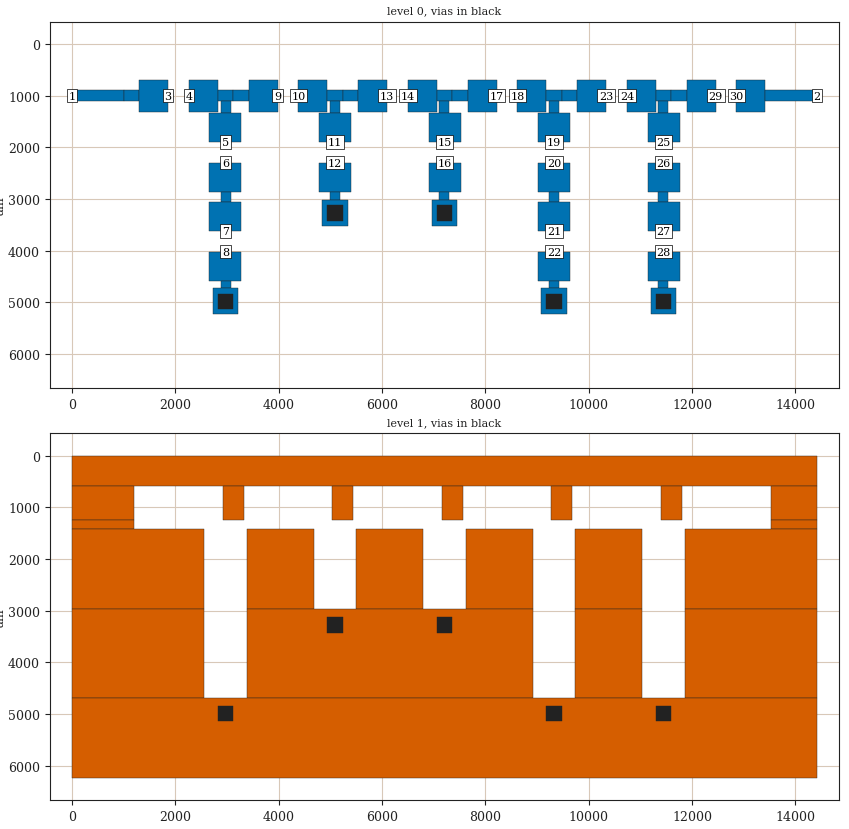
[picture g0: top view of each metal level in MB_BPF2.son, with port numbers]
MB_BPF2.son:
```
FTYP SONPROJ 1 ! Sonnet Project File
VER 19.54
HEADER
END HEADER
DIM
FREQ GHZ
IND NH
LNG UM
ANG DEG
CON /OH
CAP PF
RES OH
END DIM
FREQ
ABS 0.0300 8.0000
END FREQ
CONTROL
ABS
OPTIONS  -d
SPEED 0
RES_ABS 300
END CONTROL
GEO
TMET "Lossless" 0 SUP 0 0 0 0
BMET "Lossless" 0 SUP 0 0 0 0
MET "Cu35" 1 NOR 5.8e7 0 35
BOX 2 14420.0000 6230.0000 1442 623 20 0
      1000.0000 1 1 0 0 0 0 "Air"
      99.4000 4.1000 1 0.0200 0 0 0 "PP3313"
      1265.0000 4.5000 1 0.0200 0 0 0 "Core"
POR1 STD
POLY 1 1
3
1 50 0 0 0 0.0000 1000.0000
POR1 STD
POLY 59 1
1
2 50 0 0 0 14420.0000 1000.0000
POR1 AGND
POLY 3 1
1
3 50 0 0 0 1860.0000 1000.0000 FIX 0
POR1 AGND
POLY 4 1
3
4 50 0 0 0 2260.0000 1000.0000 FIX 0
POR1 AGND
POLY 7 1
2
5 50 0 0 0 2970.0000 1900.0000 FIX 0
POR1 AGND
POLY 8 1
0
6 50 0 0 0 2970.0000 2300.0000 FIX 0
POR1 AGND
POLY 10 1
2
7 50 0 0 0 2970.0000 3620.0000 FIX 0
POR1 AGND
POLY 11 1
0
8 50 0 0 0 2970.0000 4020.0000 FIX 0
POR1 AGND
POLY 15 1
1
9 50 0 0 0 3980.0000 1000.0000 FIX 0
POR1 AGND
POLY 16 1
3
10 50 0 0 0 4380.0000 1000.0000 FIX 0
POR1 AGND
POLY 19 1
2
11 50 0 0 0 5090.0000 1900.0000 FIX 0
POR1 AGND
POLY 20 1
0
12 50 0 0 0 5090.0000 2300.0000 FIX 0
POR1 AGND
POLY 24 1
1
13 50 0 0 0 6100.0000 1000.0000 FIX 0
POR1 AGND
POLY 25 1
3
14 50 0 0 0 6500.0000 1000.0000 FIX 0
POR1 AGND
POLY 28 1
2
15 50 0 0 0 7210.0000 1900.0000 FIX 0
POR1 AGND
POLY 29 1
0
16 50 0 0 0 7210.0000 2300.0000 FIX 0
POR1 AGND
POLY 33 1
1
17 50 0 0 0 8220.0000 1000.0000 FIX 0
POR1 AGND
POLY 34 1
3
18 50 0 0 0 8620.0000 1000.0000 FIX 0
POR1 AGND
POLY 37 1
2
19 50 0 0 0 9330.0000 1900.0000 FIX 0
POR1 AGND
POLY 38 1
0
20 50 0 0 0 9330.0000 2300.0000 FIX 0
POR1 AGND
POLY 40 1
2
21 50 0 0 0 9330.0000 3620.0000 FIX 0
POR1 AGND
POLY 41 1
0
22 50 0 0 0 9330.0000 4020.0000 FIX 0
POR1 AGND
POLY 45 1
1
23 50 0 0 0 10340.0000 1000.0000 FIX 0
POR1 AGND
POLY 46 1
3
24 50 0 0 0 10740.0000 1000.0000 FIX 0
POR1 AGND
POLY 49 1
2
25 50 0 0 0 11450.0000 1900.0000 FIX 0
POR1 AGND
POLY 50 1
0
26 50 0 0 0 11450.0000 2300.0000 FIX 0
POR1 AGND
POLY 52 1
2
27 50 0 0 0 11450.0000 3620.0000 FIX 0
POR1 AGND
POLY 53 1
0
28 50 0 0 0 11450.0000 4020.0000 FIX 0
POR1 AGND
POLY 57 1
1
29 50 0 0 0 12460.0000 1000.0000 FIX 0
POR1 AGND
POLY 58 1
3
30 50 0 0 0 12860.0000 1000.0000 FIX 0
NUM 91
1 5 0 N 60 1 1 100 100 0 0 0 Y
0.0000 0.0000
14420.0000 0.0000
14420.0000 590.0000
0.0000 590.0000
0.0000 0.0000
END
1 5 0 N 61 1 1 100 100 0 0 0 Y
0.0000 590.0000
1200.0000 590.0000
1200.0000 1240.0000
0.0000 1240.0000
0.0000 590.0000
END
1 5 0 N 62 1 1 100 100 0 0 0 Y
2920.0000 590.0000
3320.0000 590.0000
3320.0000 1240.0000
2920.0000 1240.0000
2920.0000 590.0000
END
1 5 0 N 63 1 1 100 100 0 0 0 Y
5040.0000 590.0000
5440.0000 590.0000
5440.0000 1240.0000
5040.0000 1240.0000
5040.0000 590.0000
END
1 5 0 N 64 1 1 100 100 0 0 0 Y
7160.0000 590.0000
7560.0000 590.0000
7560.0000 1240.0000
7160.0000 1240.0000
7160.0000 590.0000
END
1 5 0 N 65 1 1 100 100 0 0 0 Y
9280.0000 590.0000
9680.0000 590.0000
9680.0000 1240.0000
9280.0000 1240.0000
9280.0000 590.0000
END
1 5 0 N 66 1 1 100 100 0 0 0 Y
11400.0000 590.0000
11800.0000 590.0000
11800.0000 1240.0000
11400.0000 1240.0000
11400.0000 590.0000
END
1 5 0 N 67 1 1 100 100 0 0 0 Y
13520.0000 590.0000
14420.0000 590.0000
14420.0000 1240.0000
13520.0000 1240.0000
13520.0000 590.0000
END
1 5 0 N 68 1 1 100 100 0 0 0 Y
0.0000 1240.0000
1200.0000 1240.0000
1200.0000 1410.0000
0.0000 1410.0000
0.0000 1240.0000
END
1 5 0 N 69 1 1 100 100 0 0 0 Y
13520.0000 1240.0000
14420.0000 1240.0000
14420.0000 1410.0000
13520.0000 1410.0000
13520.0000 1240.0000
END
1 5 0 N 70 1 1 100 100 0 0 0 Y
0.0000 1410.0000
2560.0000 1410.0000
2560.0000 2960.0000
0.0000 2960.0000
0.0000 1410.0000
END
1 5 0 N 71 1 1 100 100 0 0 0 Y
3380.0000 1410.0000
4680.0000 1410.0000
4680.0000 2960.0000
3380.0000 2960.0000
3380.0000 1410.0000
END
1 5 0 N 72 1 1 100 100 0 0 0 Y
5500.0000 1410.0000
6800.0000 1410.0000
6800.0000 2960.0000
5500.0000 2960.0000
5500.0000 1410.0000
END
1 5 0 N 73 1 1 100 100 0 0 0 Y
7620.0000 1410.0000
8920.0000 1410.0000
8920.0000 2960.0000
7620.0000 2960.0000
7620.0000 1410.0000
END
1 5 0 N 74 1 1 100 100 0 0 0 Y
9740.0000 1410.0000
11040.0000 1410.0000
11040.0000 2960.0000
9740.0000 2960.0000
9740.0000 1410.0000
END
1 5 0 N 75 1 1 100 100 0 0 0 Y
11860.0000 1410.0000
14420.0000 1410.0000
14420.0000 2960.0000
11860.0000 2960.0000
11860.0000 1410.0000
END
1 5 0 N 76 1 1 100 100 0 0 0 Y
0.0000 2960.0000
2560.0000 2960.0000
2560.0000 2960.0000
0.0000 2960.0000
0.0000 2960.0000
END
1 5 0 N 77 1 1 100 100 0 0 0 Y
3380.0000 2960.0000
4680.0000 2960.0000
4680.0000 2960.0000
3380.0000 2960.0000
3380.0000 2960.0000
END
1 5 0 N 78 1 1 100 100 0 0 0 Y
5500.0000 2960.0000
6800.0000 2960.0000
6800.0000 2960.0000
5500.0000 2960.0000
5500.0000 2960.0000
END
1 5 0 N 79 1 1 100 100 0 0 0 Y
7620.0000 2960.0000
8920.0000 2960.0000
8920.0000 2960.0000
7620.0000 2960.0000
7620.0000 2960.0000
END
1 5 0 N 80 1 1 100 100 0 0 0 Y
9740.0000 2960.0000
11040.0000 2960.0000
11040.0000 2960.0000
9740.0000 2960.0000
9740.0000 2960.0000
END
1 5 0 N 81 1 1 100 100 0 0 0 Y
11860.0000 2960.0000
14420.0000 2960.0000
14420.0000 2960.0000
11860.0000 2960.0000
11860.0000 2960.0000
END
1 5 0 N 82 1 1 100 100 0 0 0 Y
0.0000 2960.0000
2560.0000 2960.0000
2560.0000 4690.0000
0.0000 4690.0000
0.0000 2960.0000
END
1 5 0 N 83 1 1 100 100 0 0 0 Y
3380.0000 2960.0000
8920.0000 2960.0000
8920.0000 4690.0000
3380.0000 4690.0000
3380.0000 2960.0000
END
1 5 0 N 84 1 1 100 100 0 0 0 Y
9740.0000 2960.0000
11040.0000 2960.0000
11040.0000 4690.0000
9740.0000 4690.0000
9740.0000 2960.0000
END
1 5 0 N 85 1 1 100 100 0 0 0 Y
11860.0000 2960.0000
14420.0000 2960.0000
14420.0000 4690.0000
11860.0000 4690.0000
11860.0000 2960.0000
END
1 5 0 N 86 1 1 100 100 0 0 0 Y
0.0000 4690.0000
14420.0000 4690.0000
14420.0000 6230.0000
0.0000 6230.0000
0.0000 4690.0000
END
0 5 0 N 1 1 1 100 100 0 0 0 Y
0.0000 900.0000
1000.0000 900.0000
1000.0000 1100.0000
0.0000 1100.0000
0.0000 900.0000
END
0 5 0 N 2 1 1 100 100 0 0 0 Y
1000.0000 900.0000
1300.0000 900.0000
1300.0000 1100.0000
1000.0000 1100.0000
1000.0000 900.0000
END
0 5 0 N 3 1 1 100 100 0 0 0 Y
1300.0000 690.0000
1860.0000 690.0000
1860.0000 1310.0000
1300.0000 1310.0000
1300.0000 690.0000
END
0 5 0 N 4 1 1 100 100 0 0 0 Y
2260.0000 690.0000
2820.0000 690.0000
2820.0000 1310.0000
2260.0000 1310.0000
2260.0000 690.0000
END
0 5 0 N 5 1 1 100 100 0 0 0 Y
2820.0000 900.0000
3120.0000 900.0000
3120.0000 1100.0000
2820.0000 1100.0000
2820.0000 900.0000
END
0 5 0 N 6 1 1 100 100 0 0 0 Y
2880.0000 1100.0000
3070.0000 1100.0000
3070.0000 1340.0000
2880.0000 1340.0000
2880.0000 1100.0000
END
0 5 0 N 7 1 1 100 100 0 0 0 Y
2660.0000 1340.0000
3280.0000 1340.0000
3280.0000 1900.0000
2660.0000 1900.0000
2660.0000 1340.0000
END
0 5 0 N 8 1 1 100 100 0 0 0 Y
2660.0000 2300.0000
3280.0000 2300.0000
3280.0000 2860.0000
2660.0000 2860.0000
2660.0000 2300.0000
END
0 5 0 N 9 1 1 100 100 0 0 0 Y
2880.0000 2860.0000
3070.0000 2860.0000
3070.0000 3060.0000
2880.0000 3060.0000
2880.0000 2860.0000
END
0 5 0 N 10 1 1 100 100 0 0 0 Y
2660.0000 3060.0000
3280.0000 3060.0000
3280.0000 3620.0000
2660.0000 3620.0000
2660.0000 3060.0000
END
0 5 0 N 11 1 1 100 100 0 0 0 Y
2660.0000 4020.0000
3280.0000 4020.0000
3280.0000 4580.0000
2660.0000 4580.0000
2660.0000 4020.0000
END
0 5 0 N 12 1 1 100 100 0 0 0 Y
2880.0000 4580.0000
3070.0000 4580.0000
3070.0000 4730.0000
2880.0000 4730.0000
2880.0000 4580.0000
END
0 5 0 N 13 1 1 100 100 0 0 0 Y
2720.0000 4730.0000
3220.0000 4730.0000
3220.0000 5230.0000
2720.0000 5230.0000
2720.0000 4730.0000
END
0 5 0 N 14 1 1 100 100 0 0 0 Y
3120.0000 900.0000
3420.0000 900.0000
3420.0000 1100.0000
3120.0000 1100.0000
3120.0000 900.0000
END
0 5 0 N 15 1 1 100 100 0 0 0 Y
3420.0000 690.0000
3980.0000 690.0000
3980.0000 1310.0000
3420.0000 1310.0000
3420.0000 690.0000
END
0 5 0 N 16 1 1 100 100 0 0 0 Y
4380.0000 690.0000
4940.0000 690.0000
4940.0000 1310.0000
4380.0000 1310.0000
4380.0000 690.0000
END
0 5 0 N 17 1 1 100 100 0 0 0 Y
4940.0000 900.0000
5240.0000 900.0000
5240.0000 1100.0000
4940.0000 1100.0000
4940.0000 900.0000
END
0 5 0 N 18 1 1 100 100 0 0 0 Y
5000.0000 1100.0000
5180.0000 1100.0000
5180.0000 1340.0000
5000.0000 1340.0000
5000.0000 1100.0000
END
0 5 0 N 19 1 1 100 100 0 0 0 Y
4780.0000 1340.0000
5400.0000 1340.0000
5400.0000 1900.0000
4780.0000 1900.0000
4780.0000 1340.0000
END
0 5 0 N 20 1 1 100 100 0 0 0 Y
4780.0000 2300.0000
5400.0000 2300.0000
5400.0000 2860.0000
4780.0000 2860.0000
4780.0000 2300.0000
END
0 5 0 N 21 1 1 100 100 0 0 0 Y
5000.0000 2860.0000
5180.0000 2860.0000
5180.0000 3020.0000
5000.0000 3020.0000
5000.0000 2860.0000
END
0 5 0 N 22 1 1 100 100 0 0 0 Y
4840.0000 3020.0000
5340.0000 3020.0000
5340.0000 3520.0000
4840.0000 3520.0000
4840.0000 3020.0000
END
0 5 0 N 23 1 1 100 100 0 0 0 Y
5240.0000 900.0000
5540.0000 900.0000
5540.0000 1100.0000
5240.0000 1100.0000
5240.0000 900.0000
END
0 5 0 N 24 1 1 100 100 0 0 0 Y
5540.0000 690.0000
6100.0000 690.0000
6100.0000 1310.0000
5540.0000 1310.0000
5540.0000 690.0000
END
0 5 0 N 25 1 1 100 100 0 0 0 Y
6500.0000 690.0000
7060.0000 690.0000
7060.0000 1310.0000
6500.0000 1310.0000
6500.0000 690.0000
END
0 5 0 N 26 1 1 100 100 0 0 0 Y
7060.0000 900.0000
7360.0000 900.0000
7360.0000 1100.0000
7060.0000 1100.0000
7060.0000 900.0000
END
0 5 0 N 27 1 1 100 100 0 0 0 Y
7110.0000 1100.0000
7300.0000 1100.0000
7300.0000 1340.0000
7110.0000 1340.0000
7110.0000 1100.0000
END
0 5 0 N 28 1 1 100 100 0 0 0 Y
6900.0000 1340.0000
7520.0000 1340.0000
7520.0000 1900.0000
6900.0000 1900.0000
6900.0000 1340.0000
END
0 5 0 N 29 1 1 100 100 0 0 0 Y
6900.0000 2300.0000
7520.0000 2300.0000
7520.0000 2860.0000
6900.0000 2860.0000
6900.0000 2300.0000
END
0 5 0 N 30 1 1 100 100 0 0 0 Y
7110.0000 2860.0000
7300.0000 2860.0000
7300.0000 3020.0000
7110.0000 3020.0000
7110.0000 2860.0000
END
0 5 0 N 31 1 1 100 100 0 0 0 Y
6960.0000 3020.0000
7460.0000 3020.0000
7460.0000 3520.0000
6960.0000 3520.0000
6960.0000 3020.0000
END
0 5 0 N 32 1 1 100 100 0 0 0 Y
7360.0000 900.0000
7660.0000 900.0000
7660.0000 1100.0000
7360.0000 1100.0000
7360.0000 900.0000
END
0 5 0 N 33 1 1 100 100 0 0 0 Y
7660.0000 690.0000
8220.0000 690.0000
8220.0000 1310.0000
7660.0000 1310.0000
7660.0000 690.0000
END
0 5 0 N 34 1 1 100 100 0 0 0 Y
8620.0000 690.0000
9180.0000 690.0000
9180.0000 1310.0000
8620.0000 1310.0000
8620.0000 690.0000
END
0 5 0 N 35 1 1 100 100 0 0 0 Y
9180.0000 900.0000
9480.0000 900.0000
9480.0000 1100.0000
9180.0000 1100.0000
9180.0000 900.0000
END
0 5 0 N 36 1 1 100 100 0 0 0 Y
9230.0000 1100.0000
9420.0000 1100.0000
9420.0000 1340.0000
9230.0000 1340.0000
9230.0000 1100.0000
END
0 5 0 N 37 1 1 100 100 0 0 0 Y
9020.0000 1340.0000
9640.0000 1340.0000
9640.0000 1900.0000
9020.0000 1900.0000
9020.0000 1340.0000
END
0 5 0 N 38 1 1 100 100 0 0 0 Y
9020.0000 2300.0000
9640.0000 2300.0000
9640.0000 2860.0000
9020.0000 2860.0000
9020.0000 2300.0000
END
0 5 0 N 39 1 1 100 100 0 0 0 Y
9230.0000 2860.0000
9420.0000 2860.0000
9420.0000 3060.0000
9230.0000 3060.0000
9230.0000 2860.0000
END
0 5 0 N 40 1 1 100 100 0 0 0 Y
9020.0000 3060.0000
9640.0000 3060.0000
9640.0000 3620.0000
9020.0000 3620.0000
9020.0000 3060.0000
END
0 5 0 N 41 1 1 100 100 0 0 0 Y
9020.0000 4020.0000
9640.0000 4020.0000
9640.0000 4580.0000
9020.0000 4580.0000
9020.0000 4020.0000
END
0 5 0 N 42 1 1 100 100 0 0 0 Y
9230.0000 4580.0000
9420.0000 4580.0000
9420.0000 4730.0000
9230.0000 4730.0000
9230.0000 4580.0000
END
0 5 0 N 43 1 1 100 100 0 0 0 Y
9080.0000 4730.0000
9580.0000 4730.0000
9580.0000 5230.0000
9080.0000 5230.0000
9080.0000 4730.0000
END
0 5 0 N 44 1 1 100 100 0 0 0 Y
9480.0000 900.0000
9780.0000 900.0000
9780.0000 1100.0000
9480.0000 1100.0000
9480.0000 900.0000
END
0 5 0 N 45 1 1 100 100 0 0 0 Y
9780.0000 690.0000
10340.0000 690.0000
10340.0000 1310.0000
9780.0000 1310.0000
9780.0000 690.0000
END
0 5 0 N 46 1 1 100 100 0 0 0 Y
10740.0000 690.0000
11300.0000 690.0000
11300.0000 1310.0000
10740.0000 1310.0000
10740.0000 690.0000
END
0 5 0 N 47 1 1 100 100 0 0 0 Y
11300.0000 900.0000
11600.0000 900.0000
11600.0000 1100.0000
11300.0000 1100.0000
11300.0000 900.0000
END
0 5 0 N 48 1 1 100 100 0 0 0 Y
11350.0000 1100.0000
11540.0000 1100.0000
11540.0000 1340.0000
11350.0000 1340.0000
11350.0000 1100.0000
END
0 5 0 N 49 1 1 100 100 0 0 0 Y
11140.0000 1340.0000
11760.0000 1340.0000
11760.0000 1900.0000
11140.0000 1900.0000
11140.0000 1340.0000
END
0 5 0 N 50 1 1 100 100 0 0 0 Y
11140.0000 2300.0000
11760.0000 2300.0000
11760.0000 2860.0000
11140.0000 2860.0000
11140.0000 2300.0000
END
0 5 0 N 51 1 1 100 100 0 0 0 Y
11350.0000 2860.0000
11540.0000 2860.0000
11540.0000 3060.0000
11350.0000 3060.0000
11350.0000 2860.0000
END
0 5 0 N 52 1 1 100 100 0 0 0 Y
11140.0000 3060.0000
11760.0000 3060.0000
11760.0000 3620.0000
11140.0000 3620.0000
11140.0000 3060.0000
END
0 5 0 N 53 1 1 100 100 0 0 0 Y
11140.0000 4020.0000
11760.0000 4020.0000
11760.0000 4580.0000
11140.0000 4580.0000
11140.0000 4020.0000
END
0 5 0 N 54 1 1 100 100 0 0 0 Y
11350.0000 4580.0000
11540.0000 4580.0000
11540.0000 4730.0000
11350.0000 4730.0000
11350.0000 4580.0000
END
0 5 0 N 55 1 1 100 100 0 0 0 Y
11200.0000 4730.0000
11700.0000 4730.0000
11700.0000 5230.0000
11200.0000 5230.0000
11200.0000 4730.0000
END
0 5 0 N 56 1 1 100 100 0 0 0 Y
11600.0000 900.0000
11900.0000 900.0000
11900.0000 1100.0000
11600.0000 1100.0000
11600.0000 900.0000
END
0 5 0 N 57 1 1 100 100 0 0 0 Y
11900.0000 690.0000
12460.0000 690.0000
12460.0000 1310.0000
11900.0000 1310.0000
11900.0000 690.0000
END
0 5 0 N 58 1 1 100 100 0 0 0 Y
12860.0000 690.0000
13420.0000 690.0000
13420.0000 1310.0000
12860.0000 1310.0000
12860.0000 690.0000
END
0 5 0 N 59 1 1 100 100 0 0 0 Y
13420.0000 900.0000
14420.0000 900.0000
14420.0000 1100.0000
13420.0000 1100.0000
13420.0000 900.0000
END
VIA POLYGON
0 5 0 V 87 1 1 100 100 0 0 0 Y
TOLEVEL GND RING COVERS
2820.0000 4840.0000
3120.0000 4840.0000
3120.0000 5140.0000
2820.0000 5140.0000
2820.0000 4840.0000
END
VIA POLYGON
0 5 0 V 88 1 1 100 100 0 0 0 Y
TOLEVEL GND RING COVERS
4940.0000 3120.0000
5240.0000 3120.0000
5240.0000 3420.0000
4940.0000 3420.0000
4940.0000 3120.0000
END
VIA POLYGON
0 5 0 V 89 1 1 100 100 0 0 0 Y
TOLEVEL GND RING COVERS
7060.0000 3120.0000
7360.0000 3120.0000
7360.0000 3420.0000
7060.0000 3420.0000
7060.0000 3120.0000
END
VIA POLYGON
0 5 0 V 90 1 1 100 100 0 0 0 Y
TOLEVEL GND RING COVERS
9180.0000 4840.0000
9480.0000 4840.0000
9480.0000 5140.0000
9180.0000 5140.0000
9180.0000 4840.0000
END
VIA POLYGON
0 5 0 V 91 1 1 100 100 0 0 0 Y
TOLEVEL GND RING COVERS
11300.0000 4840.0000
11600.0000 4840.0000
11600.0000 5140.0000
11300.0000 5140.0000
11300.0000 4840.0000
END
END GEO
FILEOUT
TS D Y $BASENAME.s30p 15 S RI R 50.00000
END FILEOUT
```
